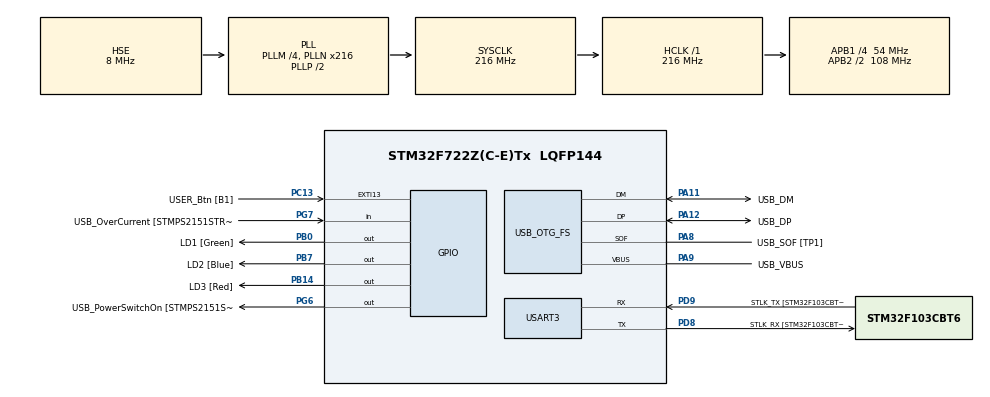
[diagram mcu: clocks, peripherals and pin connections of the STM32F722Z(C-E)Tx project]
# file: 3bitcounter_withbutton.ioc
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CORTEX_M7.default_mode_Activation=1
Mcu.Family=STM32F7
Mcu.Name=STM32F722Z(C-E)Tx
Mcu.Package=LQFP144
NVIC.PriorityGroup=NVIC_PRIORITYGROUP_4
PA10.GPIO_Label=USB_ID
PA10.Signal=USB_OTG_FS_ID
PA11.GPIO_Label=USB_DM
PA11.Mode=Device_Only
PA11.Signal=USB_OTG_FS_DM
PA12.GPIO_Label=USB_DP
PA12.Mode=Device_Only
PA12.Signal=USB_OTG_FS_DP
PA13.GPIO_Label=TMS
PA13.Mode=Serial_Wire
PA13.Signal=SYS_JTMS-SWDIO
PA14.GPIO_Label=TCK
PA14.Mode=Serial_Wire
PA14.Signal=SYS_JTCK-SWCLK
PA8.GPIO_Label=USB_SOF [TP1]
PA8.Mode=Activate_SOF_FS
PA8.Signal=USB_OTG_FS_SOF
PA9.GPIO_Label=USB_VBUS
PA9.Mode=Activate_VBUS
PA9.Signal=USB_OTG_FS_VBUS
PB0.GPIO_Label=LD1 [Green]
PB0.Signal=GPIO_Output
PB14.GPIO_Label=LD3 [Red]
PB14.Signal=GPIO_Output
PB3.GPIO_Label=SWO
PB3.Signal=SYS_JTDO-SWO
PB7.GPIO_Label=LD2 [Blue]
PB7.Signal=GPIO_Output
PC13.GPIO_Label=USER_Btn [B1]
PC13.Signal=GPXTI13
PC14-OSC32_IN.Mode=LSE-External-Oscillator
PC14-OSC32_IN.Signal=RCC_OSC32_IN
PC15-OSC32_OUT.Mode=LSE-External-Oscillator
PC15-OSC32_OUT.Signal=RCC_OSC32_OUT
PD8.GPIO_Label=STLK_RX [STM32F103CBT6_PA3]
PD8.Mode=Asynchronous
PD8.Signal=USART3_TX
PD9.GPIO_Label=STLK_TX [STM32F103CBT6_PA2]
PD9.Mode=Asynchronous
PD9.Signal=USART3_RX
PG6.GPIO_Label=USB_PowerSwitchOn [STMPS2151STR_EN]
PG6.Signal=GPIO_Output
PG7.GPIO_Label=USB_OverCurrent [STMPS2151STR_FAULT]
PG7.Signal=GPIO_Input
PH0-OSC_IN.GPIO_Label=MCO
PH0-OSC_IN.Mode=HSE-External-Clock-Source
PH0-OSC_IN.Signal=RCC_OSC_IN
PH1-OSC_OUT.Mode=HSE-External-Clock-Source
PH1-OSC_OUT.Signal=RCC_OSC_OUT
ProjectManager.HeapSize=0x200
ProjectManager.StackSize=0x400
ProjectManager.TargetToolchain=STM32CubeIDE
RCC.48MHZClocksFreq_Value=24000000
RCC.AHBFreq_Value=216000000
RCC.APB1CLKDivider=RCC_HCLK_DIV4
RCC.APB1Freq_Value=54000000
RCC.APB1TimFreq_Value=108000000
RCC.APB2CLKDivider=RCC_HCLK_DIV2
RCC.APB2Freq_Value=108000000
RCC.APB2TimFreq_Value=216000000
RCC.CortexFreq_Value=216000000
RCC.HCLKFreq_Value=216000000
RCC.HSE_VALUE=8000000
RCC.HSI_VALUE=16000000
RCC.PLLM=4
RCC.PLLMUL=RCC_PLL_MUL9
RCC.PLLN=216
RCC.PLLQ=9
RCC.PRESCALERUSB=RCC_USBCLKSOURCE_PLL_DIV1_5
RCC.SYSCLKFreq_VALUE=216000000
RCC.SYSCLKSource=RCC_SYSCLKSOURCE_PLLCLK
RCC.SYSCLKSourceVirtual=RCC_SYSCLKSOURCE_PLLCLK
RCC.USBFreq_Value=48000000
RCC.VCOOutputFreq_Value=432000000
USART3.VirtualMode-Asynchronous=VM_ASYNC
USB_OTG_FS.VirtualMode=Device_Only
board=NUCLEO-F722ZE

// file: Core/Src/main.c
/* USER CODE BEGIN Header */
/**
  ******************************************************************************
  * @file           : main.c
  * @brief          : Main program body
  ******************************************************************************
  * @attention
  *
  * Copyright (c) 2026 STMicroelectronics.
  * All rights reserved.
  *
  * This software is licensed under terms that can be found in the LICENSE file
  * in the root directory of this software component.
  * If no LICENSE file comes with this software, it is provided AS-IS.
  *
  ******************************************************************************
  */
/* USER CODE END Header */
#include "main.h"
#include "stm32f7xx_hal.h"

UART_HandleTypeDef huart3;

PCD_HandleTypeDef hpcd_USB_OTG_FS;

void SystemClock_Config(void);
static void MPU_Config(void);
static void MX_GPIO_Init(void);
static void MX_USART3_UART_Init(void);
static void MX_USB_OTG_FS_PCD_Init(void);

int main(void)
{

  /* MPU Configuration--------------------------------------------------------*/
  MPU_Config();

  /* MCU Configuration--------------------------------------------------------*/

  /* Reset of all peripherals, Initializes the Flash interface and the Systick. */
  HAL_Init();

  /* Configure the system clock */
  SystemClock_Config();

  /* Initialize all configured peripherals */
  MX_GPIO_Init();
  MX_USART3_UART_Init();
  MX_USB_OTG_FS_PCD_Init();
  /* USER CODE BEGIN 2 */
  uint8_t flag1 =0;
  uint8_t flag2 =0;
  GPIO_PinState lastbuttonstate =GPIO_PIN_RESET;
  GPIO_PinState currbuttonstate =GPIO_PIN_RESET;
  /* USER CODE END 2 */

  /* Infinite loop */
  /* USER CODE BEGIN WHILE */
  while (1)
  {
//	  if (HAL_GPIO_ReadPin(USER_Btn_GPIO_Port,USER_Btn_Pin)==GPIO_PIN_SET){
//		  HAL_GPIO_WritePin(LD1_GPIO_Port, LD1_Pin,GPIO_PIN_SET);
//	  }
//	  else{
//		  HAL_GPIO_WritePin(LD1_GPIO_Port, LD1_Pin,GPIO_PIN_RESET);
//	  }
	  currbuttonstate=HAL_GPIO_ReadPin(USER_Btn_GPIO_Port,USER_Btn_Pin);
	  if (currbuttonstate==GPIO_PIN_SET && lastbuttonstate ==GPIO_PIN_RESET)
	  {
		  HAL_Delay(50);
		  if (HAL_GPIO_ReadPin(USER_Btn_GPIO_Port,USER_Btn_Pin)==GPIO_PIN_SET)
			  {
				  //mytimer += 500; // Reset the timer target for the next 500ms

				  // Toggle LED 1 (Bit 0 - LSB) - UPDATED TO MATCH YOUR MX_GPIO_INIT
				  HAL_GPIO_TogglePin(GPIOB, LD3_Pin);

				  flag1++;
				  if (flag1 == 2)
				  {
					  flag1 = 0; // Reset flag
					  // Toggle LED 2 (Bit 1)
					  HAL_GPIO_TogglePin(GPIOB, LD2_Pin);
					  flag2++;
					  if (flag2 == 2)
					  {
						  flag2 = 0; // Reset flag
						  // Toggle LED 3 (Bit 2 - MSB)
						  HAL_GPIO_TogglePin(GPIOB, LD1_Pin);
					  }
				  }
			  }
	  }
	  lastbuttonstate = currbuttonstate;
    /* USER CODE END WHILE */

  }
}

void SystemClock_Config(void)
{
  RCC_OscInitTypeDef RCC_OscInitStruct = {0};
  RCC_ClkInitTypeDef RCC_ClkInitStruct = {0};

  /** Configure LSE Drive Capability
  */
  HAL_PWR_EnableBkUpAccess();

  /** Configure the main internal regulator output voltage
  */
  __HAL_RCC_PWR_CLK_ENABLE();
  __HAL_PWR_VOLTAGESCALING_CONFIG(PWR_REGULATOR_VOLTAGE_SCALE1);

  /** Initializes the RCC Oscillators according to the specified parameters
  * in the RCC_OscInitTypeDef structure.
  */
  RCC_OscInitStruct.OscillatorType = RCC_OSCILLATORTYPE_HSE;
  RCC_OscInitStruct.HSEState = RCC_HSE_BYPASS;
  RCC_OscInitStruct.PLL.PLLState = RCC_PLL_ON;
  RCC_OscInitStruct.PLL.PLLSource = RCC_PLLSOURCE_HSE;
  RCC_OscInitStruct.PLL.PLLM = 4;
  RCC_OscInitStruct.PLL.PLLN = 216;
  RCC_OscInitStruct.PLL.PLLP = RCC_PLLP_DIV2;
  RCC_OscInitStruct.PLL.PLLQ = 9;
  if (HAL_RCC_OscConfig(&RCC_OscInitStruct) != HAL_OK)
  {
    Error_Handler();
  }

  /** Activate the Over-Drive mode
  */
  if (HAL_PWREx_EnableOverDrive() != HAL_OK)
  {
    Error_Handler();
  }

  /** Initializes the CPU, AHB and APB buses clocks
  */
  RCC_ClkInitStruct.ClockType = RCC_CLOCKTYPE_HCLK|RCC_CLOCKTYPE_SYSCLK
                              |RCC_CLOCKTYPE_PCLK1|RCC_CLOCKTYPE_PCLK2;
  RCC_ClkInitStruct.SYSCLKSource = RCC_SYSCLKSOURCE_PLLCLK;
  RCC_ClkInitStruct.AHBCLKDivider = RCC_SYSCLK_DIV1;
  RCC_ClkInitStruct.APB1CLKDivider = RCC_HCLK_DIV4;
  RCC_ClkInitStruct.APB2CLKDivider = RCC_HCLK_DIV2;

  if (HAL_RCC_ClockConfig(&RCC_ClkInitStruct, FLASH_LATENCY_7) != HAL_OK)
  {
    Error_Handler();
  }
}

static void MX_USART3_UART_Init(void)
{

  huart3.Instance = USART3;
  huart3.Init.BaudRate = 115200;
  huart3.Init.WordLength = UART_WORDLENGTH_8B;
  huart3.Init.StopBits = UART_STOPBITS_1;
  huart3.Init.Parity = UART_PARITY_NONE;
  huart3.Init.Mode = UART_MODE_TX_RX;
  huart3.Init.HwFlowCtl = UART_HWCONTROL_NONE;
  huart3.Init.OverSampling = UART_OVERSAMPLING_16;
  huart3.Init.OneBitSampling = UART_ONE_BIT_SAMPLE_DISABLE;
  huart3.AdvancedInit.AdvFeatureInit = UART_ADVFEATURE_NO_INIT;
  if (HAL_UART_Init(&huart3) != HAL_OK)
  {
    Error_Handler();
  }

}

static void MX_USB_OTG_FS_PCD_Init(void)
{

  hpcd_USB_OTG_FS.Instance = USB_OTG_FS;
  hpcd_USB_OTG_FS.Init.dev_endpoints = 6;
  hpcd_USB_OTG_FS.Init.speed = PCD_SPEED_FULL;
  hpcd_USB_OTG_FS.Init.dma_enable = DISABLE;
  hpcd_USB_OTG_FS.Init.phy_itface = PCD_PHY_EMBEDDED;
  hpcd_USB_OTG_FS.Init.Sof_enable = ENABLE;
  hpcd_USB_OTG_FS.Init.low_power_enable = DISABLE;
  hpcd_USB_OTG_FS.Init.lpm_enable = DISABLE;
  hpcd_USB_OTG_FS.Init.battery_charging_enable = ENABLE;
  hpcd_USB_OTG_FS.Init.vbus_sensing_enable = ENABLE;
  hpcd_USB_OTG_FS.Init.use_dedicated_ep1 = DISABLE;
  if (HAL_PCD_Init(&hpcd_USB_OTG_FS) != HAL_OK)
  {
    Error_Handler();
  }

}

static void MX_GPIO_Init(void)
{
  GPIO_InitTypeDef GPIO_InitStruct = {0};

  /* GPIO Ports Clock Enable */
  __HAL_RCC_GPIOC_CLK_ENABLE();
  __HAL_RCC_GPIOH_CLK_ENABLE();
  __HAL_RCC_GPIOB_CLK_ENABLE();
  __HAL_RCC_GPIOD_CLK_ENABLE();
  __HAL_RCC_GPIOG_CLK_ENABLE();
  __HAL_RCC_GPIOA_CLK_ENABLE();

  /*Configure GPIO pin Output Level */
  HAL_GPIO_WritePin(GPIOB, LD1_Pin|LD3_Pin|LD2_Pin, GPIO_PIN_RESET);

  /*Configure GPIO pin Output Level */
  HAL_GPIO_WritePin(USB_PowerSwitchOn_GPIO_Port, USB_PowerSwitchOn_Pin, GPIO_PIN_RESET);

  /*Configure GPIO pin : USER_Btn_Pin */
  GPIO_InitStruct.Pin = USER_Btn_Pin;
  GPIO_InitStruct.Mode = GPIO_MODE_IT_RISING;
  GPIO_InitStruct.Pull = GPIO_NOPULL;
  HAL_GPIO_Init(USER_Btn_GPIO_Port, &GPIO_InitStruct);

  /*Configure GPIO pins : LD1_Pin LD3_Pin LD2_Pin */
  GPIO_InitStruct.Pin = LD1_Pin|LD3_Pin|LD2_Pin;
  GPIO_InitStruct.Mode = GPIO_MODE_OUTPUT_PP;
  GPIO_InitStruct.Pull = GPIO_NOPULL;
  GPIO_InitStruct.Speed = GPIO_SPEED_FREQ_LOW;
  HAL_GPIO_Init(GPIOB, &GPIO_InitStruct);

  /*Configure GPIO pin : USB_PowerSwitchOn_Pin */
  GPIO_InitStruct.Pin = USB_PowerSwitchOn_Pin;
  GPIO_InitStruct.Mode = GPIO_MODE_OUTPUT_PP;
  GPIO_InitStruct.Pull = GPIO_NOPULL;
  GPIO_InitStruct.Speed = GPIO_SPEED_FREQ_LOW;
  HAL_GPIO_Init(USB_PowerSwitchOn_GPIO_Port, &GPIO_InitStruct);

  /*Configure GPIO pin : USB_OverCurrent_Pin */
  GPIO_InitStruct.Pin = USB_OverCurrent_Pin;
  GPIO_InitStruct.Mode = GPIO_MODE_INPUT;
  GPIO_InitStruct.Pull = GPIO_NOPULL;
  HAL_GPIO_Init(USB_OverCurrent_GPIO_Port, &GPIO_InitStruct);

}

 /* MPU Configuration */

void MPU_Config(void)
{
  MPU_Region_InitTypeDef MPU_InitStruct = {0};

  /* Disables the MPU */
  HAL_MPU_Disable();

  /** Initializes and configures the Region and the memory to be protected
  */
  MPU_InitStruct.Enable = MPU_REGION_ENABLE;
  MPU_InitStruct.Number = MPU_REGION_NUMBER0;
  MPU_InitStruct.BaseAddress = 0x0;
  MPU_InitStruct.Size = MPU_REGION_SIZE_4GB;
  MPU_InitStruct.SubRegionDisable = 0x87;
  MPU_InitStruct.TypeExtField = MPU_TEX_LEVEL0;
  MPU_InitStruct.AccessPermission = MPU_REGION_NO_ACCESS;
  MPU_InitStruct.DisableExec = MPU_INSTRUCTION_ACCESS_DISABLE;
  MPU_InitStruct.IsShareable = MPU_ACCESS_SHAREABLE;
  MPU_InitStruct.IsCacheable = MPU_ACCESS_NOT_CACHEABLE;
  MPU_InitStruct.IsBufferable = MPU_ACCESS_NOT_BUFFERABLE;

  HAL_MPU_ConfigRegion(&MPU_InitStruct);
  /* Enables the MPU */
  HAL_MPU_Enable(MPU_PRIVILEGED_DEFAULT);

}

void Error_Handler(void)
{
  __disable_irq();
  while (1)
  {
  }
}
